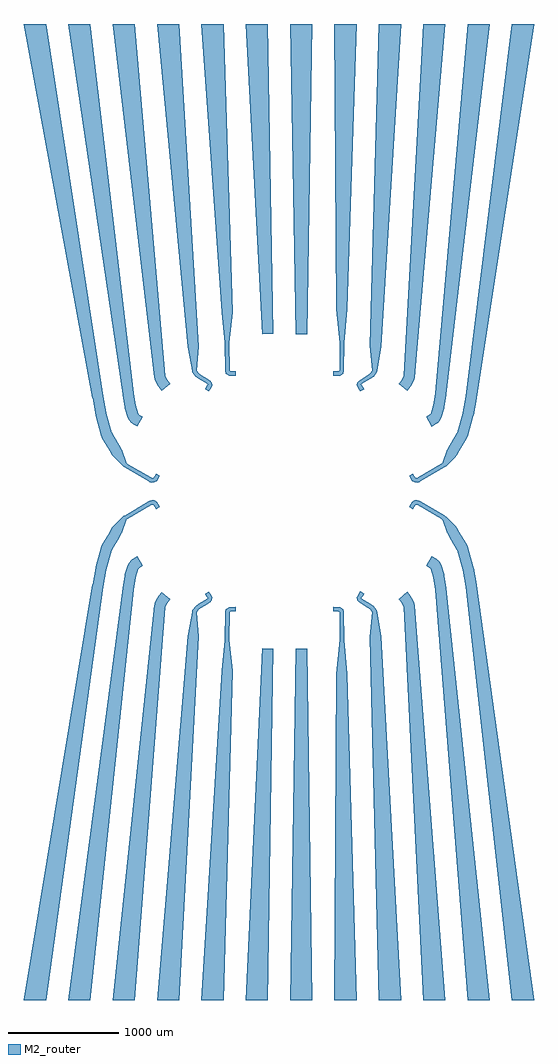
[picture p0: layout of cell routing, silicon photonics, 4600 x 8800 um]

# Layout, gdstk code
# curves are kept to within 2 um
import gdstk
lib = gdstk.Library(unit=1e-6, precision=1e-09)
def P(c, l, *ps):  # polygons
    for p in ps: c.add(gdstk.Polygon(p, *l))
M2_router = (12, 0)

routing = lib.new_cell('routing')
P(routing, M2_router, [(-1900,-4400),(-1391.32,-573.206),(-1362.481,-479.655),(-1353.254,-460.046),(-1340.161,-442.267),(-1323.857,-427.378),(-1276.265,-399.667),(-1227.315,-486.867),(-1262.52,-506.629),(-1268.433,-513.885),(-1292.866,-591.226),(-1308.05,-700.079),(-1700,-4400)],
  [(-1500,-4400),(-1123.905,-842.486),(-1118.124,-820.448),(-1094.254,-768.625),(-1058.212,-722.799),(-980.408,-785.621),(-1008.842,-820.863),(-1024.83,-856.971),(-1300,-4400)],
  [(-300,-4400),(-152.657,-1230.609),(-52.703,-1233.611),(-100,-4400)],
  [(1700,-4400),(1407.96,-699.466),(1392.798,-590.737),(1367.329,-510.418),(1325.665,-485.587),(1375.015,-398.613),(1426.389,-428.661),(1441.162,-442.239),(1457.726,-467.297),(1491.252,-572.717),(1507.119,-686.449),(1900,-4400)],
  [(1300,-4400),(1125.095,-857.358),(1108.581,-820.234),(1078.915,-784.575),(1156.125,-721.025),(1194.193,-768.389),(1218.107,-820.41),(1223.926,-844.113),(1500,-4400)],
  [(100,-4400),(152.68,-1232.106),(252.68,-1232.114),(300,-4400)],
  [(900,-4400),(820.132,-1126.53),(842.909,-901.698),(824.88,-878.544),(721.348,-813.679),(706.27,-794.526),(701.479,-770.475),(732.568,-716.016),(767.229,-736.027),(743.439,-776.365),(748.23,-783.161),(852.258,-848.596),(881.509,-886.162),(921.505,-1119.3),(1100,-4400)],
  [(500,-4400),(515.83,-1457.034),(547.109,-1153.2),(546.028,-906.996),(544.624,-901.482),(538.369,-897.998),(490.56,-896.537),(490.4,-856.516),(550.129,-858.762),(579.134,-874.918),(585.83,-901.204),(587.109,-1154.44),(615.83,-1456.554),(700,-4400)],
  [(-1276.265,771.505),(-1323.857,799.216),(-1340.161,814.105),(-1353.254,831.884),(-1362.481,851.493),(-1391.32,945.044),(-1900,4400),(-1700,4400),(-1308.02,1071.687),(-1292.866,963.064),(-1268.433,885.723),(-1262.52,878.467),(-1227.315,858.705)],
  [(-1058.212,1094.637),(-1094.254,1140.463),(-1118.124,1192.286),(-1123.905,1214.324),(-1500,4400),(-1300,4400),(-1024.83,1228.809),(-1008.842,1192.701),(-980.408,1157.459)],
  [(-152.657,1602.447),(-300,4400),(-100,4400),(-52.703,1605.449)],
  [(1375.015,770.451),(1325.665,857.425),(1367.329,882.256),(1392.798,962.575),(1407.96,1071.304),(1700,4400),(1900,4400),(1507.119,1058.287),(1491.252,944.555),(1461.385,848.051),(1447.489,821.878),(1426.389,800.499)],
  [(1156.125,1092.863),(1078.915,1156.413),(1108.581,1192.072),(1125.095,1229.196),(1300,4400),(1500,4400),(1223.926,1215.951),(1218.107,1192.248),(1194.193,1140.227)],
  [(152.68,1603.944),(100,4400),(300,4400),(252.68,1603.952)],
  [(732.568,1087.854),(701.479,1142.313),(706.27,1166.364),(721.348,1185.517),(824.88,1250.382),(842.909,1273.536),(820.132,1498.368),(900,4400),(1100,4400),(921.505,1491.138),(881.509,1258),(852.258,1220.434),(748.23,1154.999),(743.439,1148.203),(767.229,1107.865)],
  [(490.4,1228.354),(490.56,1268.375),(538.369,1269.836),(544.624,1273.32),(546.028,1278.834),(547.109,1525.038),(515.83,1828.872),(500,4400),(700,4400),(615.83,1828.392),(587.109,1526.278),(585.83,1273.042),(579.134,1246.756),(550.129,1230.6)],
  [(-632.083,1088.708),(-666.743,1108.718),(-643.44,1148.203),(-648.231,1154.999),(-752.259,1220.434),(-781.51,1258),(-822.987,1490.048),(-1100,4400),(-900,4400),(-721.345,1490.668),(-742.91,1273.536),(-724.881,1250.382),(-621.349,1185.517),(-606.271,1166.364),(-601.48,1142.313)],
  [(-390.49,1228.355),(-450.13,1230.6),(-479.135,1246.756),(-485.831,1273.042),(-487.11,1526.278),(-515.83,1801.628),(-700,4400),(-500,4400),(-415.83,1801.628),(-447.11,1525.038),(-446.029,1278.834),(-444.625,1273.32),(-438.37,1269.836),(-390.65,1268.375)],
  [(1247.267,265.793),(1225.612,267.516),(1202.062,278.453),(1173.074,326.014),(1207.081,345.951),(1229.696,309.723),(1235.946,306.82),(1248.912,307.72),(1470.85,439.628),(1514.11,556.128),(1604.957,712.865),(1655.86,890.892),(1682.947,1044.819),(2100,4400),(2300,4400),(1781.516,1027.823),(1752.747,866.001),(1697.062,673.637),(1600.13,506.208),(1498.71,407.918),(1275.776,276.773)],
  [(-1147.268,265.793),(-1175.777,276.773),(-1398.44,407.408),(-1500.06,506.208),(-1596.983,673.67),(-1652.648,865.655),(-2300,4400),(-2100,4400),(-1583.058,1045.344),(-1555.761,890.547),(-1504.879,712.899),(-1414.11,555.958),(-1370.69,439.258),(-1148.913,307.72),(-1135.947,306.82),(-1129.697,309.723),(-1107.576,345.16),(-1073.56,325.218),(-1102.063,278.453),(-1125.613,267.516)],
  [(-1100,-4400),(-822.987,-1118.21),(-781.51,-886.162),(-752.259,-848.596),(-648.231,-783.161),(-643.44,-776.365),(-666.743,-736.88),(-632.083,-716.87),(-601.48,-770.475),(-606.271,-794.526),(-621.349,-813.679),(-724.881,-878.544),(-742.91,-901.698),(-721.345,-1118.83),(-900,-4400)],
  [(-700,-4400),(-515.83,-1429.79),(-487.11,-1154.44),(-485.831,-901.204),(-479.135,-874.918),(-450.13,-858.762),(-391.28,-856.52),(-391.44,-896.54),(-438.37,-897.998),(-444.625,-901.482),(-446.029,-906.996),(-447.11,-1153.2),(-415.83,-1429.79),(-500,-4400)],
  [(2100,-4400),(1682.947,-672.981),(1656.302,-520.982),(1604.957,-341.027),(1514.11,-184.29),(1470.85,-67.79),(1248.912,64.118),(1235.946,65.018),(1229.696,62.115),(1207.081,25.887),(1173.074,45.824),(1202.062,93.385),(1225.612,104.322),(1247.267,106.045),(1263.906,101.482),(1490.97,-30.91),(1600.13,-134.37),(1697.062,-301.799),(1754.349,-501.146),(1782.023,-659.36),(2300,-4400)],
  [(-2300,-4400),(-1652.648,-493.817),(-1596.983,-301.832),(-1500.06,-134.37),(-1398.44,-35.57),(-1163.907,101.482),(-1147.268,106.045),(-1125.613,104.322),(-1102.063,93.385),(-1073.56,46.62),(-1107.576,26.678),(-1129.697,62.115),(-1135.947,65.018),(-1148.913,64.118),(-1370.69,-67.42),(-1414.11,-184.12),(-1504.879,-341.061),(-1555.761,-518.709),(-1583.058,-673.506),(-2100,-4400)])

lib.write_gds('routing.gds')
